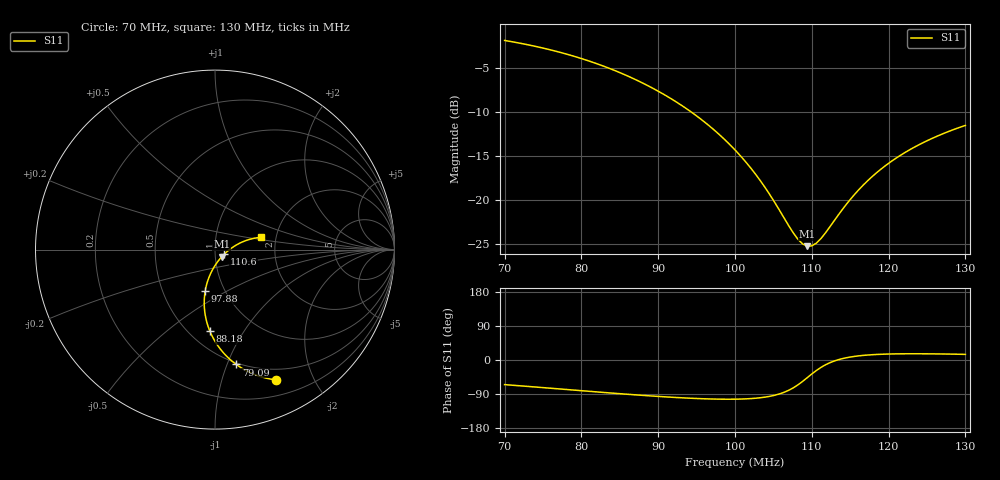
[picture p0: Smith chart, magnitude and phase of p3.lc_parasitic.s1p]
# Hz S RI R 50
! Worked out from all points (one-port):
!   100 points, 70 MHz to 130 MHz, reference 50 ohm
!   lowest |S11| = -25.2 dB at 109.4 MHz (marker M1), VSWR 1.12, Z = 53.7 - j4.31 ohm
!   |S11| at or under -10 dB: 94.26 MHz to end of sweep
!   S11 on the Smith chart (normalised r, x): 70 MHz: 0.37, -1.51; 79.09 MHz: 0.49, -1.08; 88.18 MHz: 0.63, -0.72; 97.88 MHz: 0.81, -0.40; 110.6 MHz: 1.11, -0.06; 130 MHz: 1.67, +0.24
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7e7  0.3388 -0.7258
7.424242e7  0.2321 -0.7003
7.787879e7  0.1453 -0.658
7.909091e7  0.1184 -0.6398
8.212121e7  0.0575 -0.5863
8.515152e7  0.00785 -0.5234
8.818182e7  -0.0286 -0.4541
9.060606e7  -0.0476 -0.3966
9.30303e7  -0.0579 -0.3391
9.545455e7  -0.0599 -0.2831
9.787879e7  -0.0545 -0.2302
1.00303e8  -0.0428 -0.1811
1.021212e8  -0.0306 -0.1474
1.039394e8  -0.0161 -0.1163
1.075758e8  0.0184 -0.0627
1.081818e8  0.0247 -0.0548
1.087879e8  0.031 -0.0473
1.093939e8  0.0375 -0.04
1.1e8  0.044 -0.0331
1.106061e8  0.0506 -0.0264
1.118182e8  0.064 -0.0139
1.142424e8  0.0912 0.00776
1.154545e8  0.1049 0.0171
1.172727e8  0.1253 0.0292
1.190909e8  0.1454 0.0394
1.227273e8  0.1845 0.0545
1.263636e8  0.2215 0.0636
1.3e8  0.2558 0.0679
